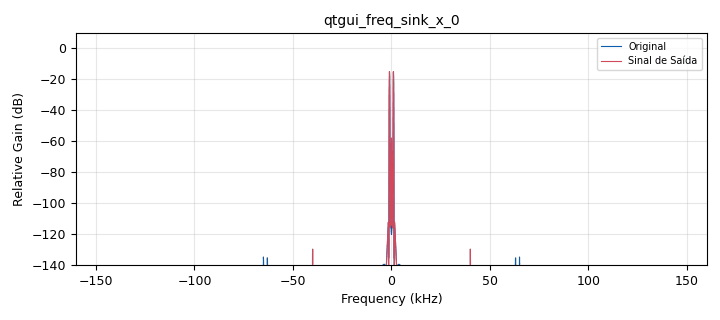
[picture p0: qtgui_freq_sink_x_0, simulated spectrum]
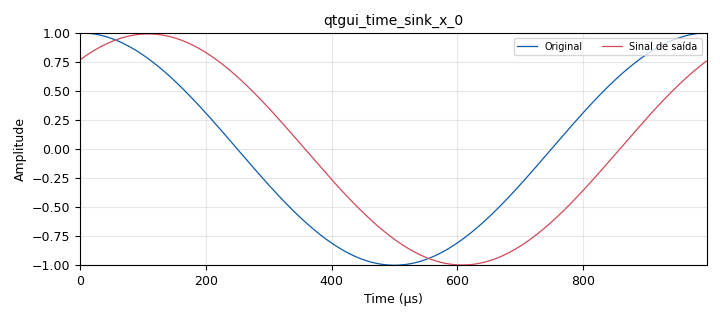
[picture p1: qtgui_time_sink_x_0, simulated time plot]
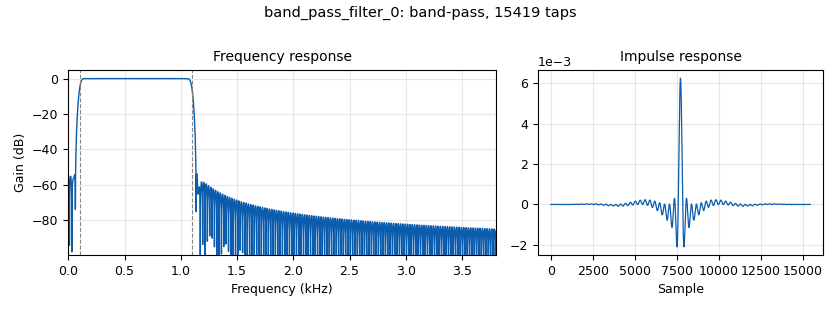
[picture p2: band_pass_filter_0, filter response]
options:
  parameters:
    author: luso
    generate_options: qt_gui
    id: ex3
    output_language: python
    title: Ex_3
  states: {}

blocks:
- name: alpha
  id: variable_qtgui_entry
  parameters:
    type: real
    value: '0.1'
  states: {}
- name: amp
  id: variable_qtgui_entry
  parameters:
    type: real
    value: '2'
  states: {}
- name: coeff
  id: variable_qtgui_range
  parameters:
    gui_hint: 0,3
    min_len: '20'
    start: '0.1'
    step: '.1'
    stop: '1'
    value: '0.15'
  states: {}
- name: f_c
  id: variable_qtgui_range
  parameters:
    gui_hint: 0,1
    label: Carrier Frequency
    min_len: '20'
    start: '0'
    step: '10000'
    stop: '50000'
    value: '20000'
  states: {}
- name: freq
  id: variable_qtgui_range
  parameters:
    gui_hint: 0,0
    label: Frequency
    start: '0'
    step: '500'
    stop: '10000'
    value: '1000'
  states: {}
- name: mode
  id: variable_qtgui_chooser
  parameters:
    gui_hint: 0,2
    label: Rectifier
    label0: Halfwave
    label1: Fullwave
    num_opts: '2'
    option0: '0'
    option1: '1'
    type: int
    value: '0'
    widget: radio_buttons
  states: {}
- name: samp_rate
  id: variable
  parameters:
    value: '320000'
  states: {}
- name: analog_sig_source_x_0
  id: analog_sig_source_x
  parameters:
    amp: '1'
    freq: freq
    offset: '0'
    phase: '0'
    samp_rate: samp_rate
    type: float
    waveform: analog.GR_COS_WAVE
  states: {}
- name: analog_sig_source_x_0_0
  id: analog_sig_source_x
  parameters:
    amp: amp
    comment: Modulação
    freq: f_c
    offset: '0'
    phase: '0'
    samp_rate: samp_rate
    type: float
    waveform: analog.GR_COS_WAVE
  states: {}
- name: analog_sig_source_x_0_0_0
  id: analog_sig_source_x
  parameters:
    amp: '1'
    comment: Demodulação
    freq: f_c
    offset: '0'
    phase: '0'
    samp_rate: samp_rate
    type: float
    waveform: analog.GR_COS_WAVE
  states: {}
- name: analog_sig_source_x_1
  id: analog_sig_source_x
  parameters:
    amp: '2'
    freq: '0'
    offset: '0'
    phase: '0'
    samp_rate: samp_rate
    type: float
    waveform: analog.GR_CONST_WAVE
  states: {}
- name: band_pass_filter_0
  id: band_pass_filter
  parameters:
    decim: '1'
    gain: '1'
    high_cutoff_freq: freq+freq/10
    low_cutoff_freq: freq/10
    samp_rate: samp_rate
    type: fir_filter_fff
    width: freq/20
    win: window.WIN_HAMMING
  states: {}
- name: blocks_add_xx_0
  id: blocks_add_xx
  parameters:
    type: float
  states: {}
- name: blocks_multiply_xx_0
  id: blocks_multiply_xx
  parameters:
    type: float
  states: {}
- name: blocks_multiply_xx_0_0
  id: blocks_multiply_xx
  parameters:
    type: float
  states: {}
- name: blocks_throttle_0
  id: blocks_throttle
  parameters:
    samples_per_second: samp_rate
    type: float
  states: {}
- name: epy_block_0
  id: epy_block
  parameters:
    _source_code: |
      """
      Embedded Python Blocks:

      Each time this file is saved, GRC will instantiate the first class it finds
      to get ports and parameters of your block. The arguments to __init__ will
      be the parameters. All of them are required to have default values!
      """

      import numpy as np
      from gnuradio import gr

      class blk(gr.sync_block):  # other base classes are basic_block, decim_block, interp_block
          def __init__(self, threshold=0.0, mode=0, coeff=0.15):  # only default arguments here
              gr.sync_block.__init__(
                  self,
                  name='Envelope Detector',   # will show up in GRC
                  in_sig=[np.float32],
                  out_sig=[np.float32]
              )
              # if an attribute with the same name as a parameter is found,
              # a callback is registered (properties work, too).
              self.ry = 0
              self.threshold = threshold
              self.mode = mode
              self.coeff = coeff

          def work(self, input_items, output_items):
              """Envelope Detect with Half/Full Wave Rectifier"""
              buf = [0] * len(input_items[0])
              a0 = self.coeff
              b1 = 1 - a0

              for i in range(len(input_items[0])):
                  if self.mode == 1:
                      buf[i] = input_items[0][i]
                  else:
                      if input_items[0][i] > self.threshold:
                          buf[i] = input_items[0][i]
                      else:
                          buf[i] = 0

              for i in range(len(output_items[0])):
                  if i == 0:
                      output_items[0][i] = a0 * buf[i] + b1 * self.ry
                  else:
                      output_items[0][i] = a0 * buf[i] + b1 * output_items[0][i - 1]

              i = len(output_items[0]) - 1
              self.ry = output_items[0][i]
              return len(output_items[0])
    coeff: coeff
    mode: mode
    threshold: '0'
  states: {}
- name: import_0
  id: import
  parameters:
    imports: import numpy as np
  states: {}
- name: low_pass_filter_0
  id: low_pass_filter
  parameters:
    cutoff_freq: freq*2
    gain: '1'
    interp: '1'
    samp_rate: samp_rate
    type: interp_fir_filter_fff
    width: '1'
    win: window.WIN_RECTANGULAR
  states: {state: disabled}
- name: pi2
  id: epy_module
  parameters:
    source_code: "# this module will be imported in the into your flowgraph\r\n\r\nimport numpy as np\r\n\r\npi = np.pi\r\ndef pix(arg):\r\n\r\n\r\n\treturn pi2*arg"
  states: {}
- name: qtgui_freq_sink_x_0
  id: qtgui_freq_sink_x
  parameters:
    bw: samp_rate
    ctrlpanel: 'True'
    fc: '0'
    fftsize: '4096'
    label1: Original
    label2: Sinal de Saída
    nconnections: '2'
    type: float
  states: {}
- name: qtgui_time_sink_x_0
  id: qtgui_time_sink_x
  parameters:
    ctrlpanel: 'True'
    label1: Original
    label2: Sinal de saída
    nconnections: '2'
    size: round(samp_rate/freq)
    srate: samp_rate
    type: float
  states: {}
- name: uhd_usrp_sink_0
  id: uhd_usrp_sink
  parameters:
    ant0: '"TX/RX"'
    center_freq0: '0'
    dev_addr: '"addr=192.168.1.35"'
    gain0: '15'
    samp_rate: samp_rate
    sync: pc_clock
    type: fc32
  states: {}
- name: virtual_sink_0
  id: virtual_sink
  parameters:
    stream_id: original
  states: {}
- name: virtual_sink_1
  id: virtual_sink
  parameters:
    stream_id: 1+m
  states: {}
- name: virtual_sink_2
  id: virtual_sink
  parameters:
    stream_id: saida
  states: {}
- name: virtual_sink_3
  id: virtual_sink
  parameters:
    stream_id: modulado
  states: {}
- name: virtual_source_0
  id: virtual_source
  parameters:
    stream_id: 1+m
  states: {}
- name: virtual_source_1
  id: virtual_source
  parameters:
    stream_id: saida
  states: {}
- name: virtual_source_1_0
  id: virtual_source
  parameters:
    stream_id: saida
  states: {}
- name: virtual_source_2
  id: virtual_source
  parameters:
    stream_id: modulado
  states: {}
- name: virtual_source_2_0
  id: virtual_source
  parameters:
    stream_id: original
  states: {}

connections:
- [analog_sig_source_x_0, '0', blocks_add_xx_0, '1']
- [analog_sig_source_x_0, '0', virtual_sink_0, '0']
- [analog_sig_source_x_0_0, '0', blocks_multiply_xx_0, '1']
- [analog_sig_source_x_0_0_0, '0', blocks_multiply_xx_0_0, '1']
- [analog_sig_source_x_1, '0', blocks_add_xx_0, '0']
- [band_pass_filter_0, '0', virtual_sink_2, '0']
- [blocks_add_xx_0, '0', virtual_sink_1, '0']
- [blocks_multiply_xx_0, '0', virtual_sink_3, '0']
- [blocks_multiply_xx_0_0, '0', epy_block_0, '0']
- [blocks_multiply_xx_0_0, '0', low_pass_filter_0, '0']
- [blocks_throttle_0, '0', qtgui_freq_sink_x_0, '0']
- [blocks_throttle_0, '0', qtgui_time_sink_x_0, '0']
- [epy_block_0, '0', band_pass_filter_0, '0']
- [low_pass_filter_0, '0', qtgui_freq_sink_x_0, '1']
- [low_pass_filter_0, '0', qtgui_time_sink_x_0, '1']
- [virtual_source_0, '0', blocks_multiply_xx_0, '0']
- [virtual_source_1, '0', qtgui_freq_sink_x_0, '1']
- [virtual_source_1_0, '0', qtgui_time_sink_x_0, '1']
- [virtual_source_2, '0', blocks_multiply_xx_0_0, '0']
- [virtual_source_2_0, '0', blocks_throttle_0, '0']

metadata:
  file_format: 1
  grc_version: 3.10.11.0
